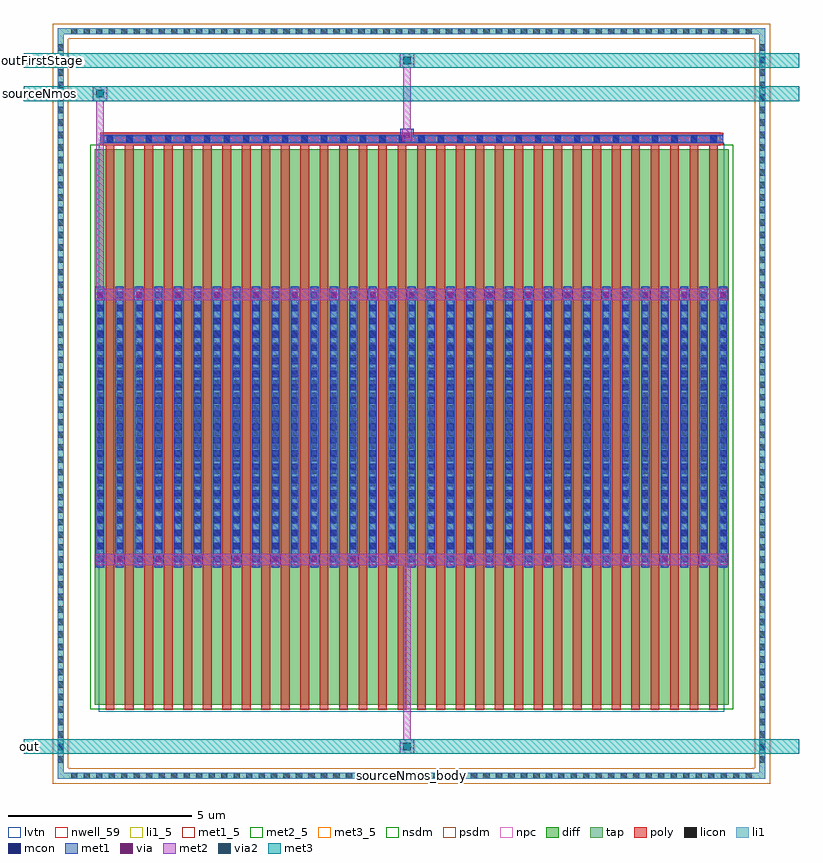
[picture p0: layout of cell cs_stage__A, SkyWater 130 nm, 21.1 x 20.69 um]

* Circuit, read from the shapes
.subckt cs_stage__A out outFirstStage sourceNmos sourceNmos_body
XM1 out outFirstStage sourceNmos sourceNmos_body sky130_fd_pr__nfet_01v8_lvt w=15.13 l=0.24 m=32
.ends

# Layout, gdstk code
import gdstk
lib = gdstk.Library(unit=1e-6, precision=1e-09)
def R(c, l, rs):  # rectangles x0, y0, x1, y1
    for r in rs: c.add(gdstk.rectangle(r[:2], r[2:], *l))
def A(c, l, x, y, w, h, nx, ny, dx, dy):  # array of equal rectangles
    R(c, l, [(x+i*dx, y+j*dy, x+i*dx+w, y+j*dy+h) for i in range(nx) for j in range(ny)])
nwell_59 = (64, 59)
diff = (65, 20)
tap = (65, 44)
poly = (66, 20)
licon = (66, 44)
li1_5 = (67, 5)
li1 = (67, 20)
mcon = (67, 44)
met1_5 = (68, 5)
met1 = (68, 20)
via = (68, 44)
met2_5 = (69, 5)
met2 = (69, 20)
via2 = (69, 44)
met3_5 = (70, 5)
met3 = (70, 20)
nsdm = (93, 44)
psdm = (94, 20)
npc = (95, 20)
lvtn = (125, 44)

sky130_fd_pr__nfet_01v8_ = lib.new_cell('sky130_fd_pr__nfet_01v8_lvt_2FVR8Y')
R(sky130_fd_pr__nfet_01v8_, diff, [(-8.625,-7.72,8.625,7.41)])
A(sky130_fd_pr__nfet_01v8_, poly, -8.335, -7.85, 0.24, 15.37, 32, 1, 0.53, 0)
R(sky130_fd_pr__nfet_01v8_, poly, [(-8.48,7.52,8.48,7.85)])
A(sky130_fd_pr__nfet_01v8_, licon, -8.565, -3.81, 0.17, 0.17, 33, 22, 0.53, 0.34)
A(sky130_fd_pr__nfet_01v8_, licon, -8.3, 7.6, 0.17, 0.17, 32, 1, 0.53, 0)
A(sky130_fd_pr__nfet_01v8_, li1, -8.565, -3.99, 0.17, 7.67, 33, 1, 0.53, 0)
R(sky130_fd_pr__nfet_01v8_, li1, [(-8.48,7.6,8.48,7.77)])
A(sky130_fd_pr__nfet_01v8_, mcon, -8.565, -3.84, 0.17, 0.17, 33, 21, 0.53, 0.36)
A(sky130_fd_pr__nfet_01v8_, mcon, -8.3, 7.6, 0.17, 0.17, 32, 1, 0.53, 0)
A(sky130_fd_pr__nfet_01v8_, met1, -8.595, -3.97, 0.23, 7.63, 33, 1, 0.53, 0)
A(sky130_fd_pr__nfet_01v8_, met1, -8.36, 7.57, 0.29, 0.03, 32, 2, 0.53, 0.2)
R(sky130_fd_pr__nfet_01v8_, met1, [(-8.48,7.6,8.48,7.77)])
R(sky130_fd_pr__nfet_01v8_, nsdm, [(-8.75,-7.845,8.75,7.535)])
R(sky130_fd_pr__nfet_01v8_, npc, [(-8.4,7.5,8.4,7.87)])
R(sky130_fd_pr__nfet_01v8_, lvtn, [(-8.515,-7.9,8.515,7.59)])
sky130_fd_pr__nfet_01v8_.add(gdstk.Label('D0', (-8.48,-0.155), layer=67, texttype=5))
sky130_fd_pr__nfet_01v8_.add(gdstk.Label('G', (8.215,7.685), layer=67, texttype=5))
sky130_fd_pr__nfet_01v8_.add(gdstk.Label('G', (7.685,7.685), layer=67, texttype=5))
sky130_fd_pr__nfet_01v8_.add(gdstk.Label('G', (7.155,7.685), layer=67, texttype=5))
sky130_fd_pr__nfet_01v8_.add(gdstk.Label('G', (6.625,7.685), layer=67, texttype=5))
sky130_fd_pr__nfet_01v8_.add(gdstk.Label('G', (6.095,7.685), layer=67, texttype=5))
sky130_fd_pr__nfet_01v8_.add(gdstk.Label('G', (5.565,7.685), layer=67, texttype=5))
sky130_fd_pr__nfet_01v8_.add(gdstk.Label('G', (5.035,7.685), layer=67, texttype=5))
sky130_fd_pr__nfet_01v8_.add(gdstk.Label('G', (4.505,7.685), layer=67, texttype=5))
sky130_fd_pr__nfet_01v8_.add(gdstk.Label('G', (3.975,7.685), layer=67, texttype=5))
sky130_fd_pr__nfet_01v8_.add(gdstk.Label('G', (3.445,7.685), layer=67, texttype=5))
sky130_fd_pr__nfet_01v8_.add(gdstk.Label('G', (2.915,7.685), layer=67, texttype=5))
sky130_fd_pr__nfet_01v8_.add(gdstk.Label('G', (2.385,7.685), layer=67, texttype=5))
sky130_fd_pr__nfet_01v8_.add(gdstk.Label('G', (1.855,7.685), layer=67, texttype=5))
sky130_fd_pr__nfet_01v8_.add(gdstk.Label('G', (1.325,7.685), layer=67, texttype=5))
sky130_fd_pr__nfet_01v8_.add(gdstk.Label('G', (0.795,7.685), layer=67, texttype=5))
sky130_fd_pr__nfet_01v8_.add(gdstk.Label('G', (0.265,7.685), layer=67, texttype=5))
sky130_fd_pr__nfet_01v8_.add(gdstk.Label('G', (-0.265,7.685), layer=67, texttype=5))
sky130_fd_pr__nfet_01v8_.add(gdstk.Label('G', (-0.795,7.685), layer=67, texttype=5))
sky130_fd_pr__nfet_01v8_.add(gdstk.Label('G', (-1.325,7.685), layer=67, texttype=5))
sky130_fd_pr__nfet_01v8_.add(gdstk.Label('G', (-1.855,7.685), layer=67, texttype=5))
sky130_fd_pr__nfet_01v8_.add(gdstk.Label('G', (-2.385,7.685), layer=67, texttype=5))
sky130_fd_pr__nfet_01v8_.add(gdstk.Label('G', (-2.915,7.685), layer=67, texttype=5))
sky130_fd_pr__nfet_01v8_.add(gdstk.Label('G', (-3.445,7.685), layer=67, texttype=5))
sky130_fd_pr__nfet_01v8_.add(gdstk.Label('G', (-3.975,7.685), layer=67, texttype=5))
sky130_fd_pr__nfet_01v8_.add(gdstk.Label('G', (-4.505,7.685), layer=67, texttype=5))
sky130_fd_pr__nfet_01v8_.add(gdstk.Label('G', (-5.035,7.685), layer=67, texttype=5))
sky130_fd_pr__nfet_01v8_.add(gdstk.Label('G', (-5.565,7.685), layer=67, texttype=5))
sky130_fd_pr__nfet_01v8_.add(gdstk.Label('G', (-6.095,7.685), layer=67, texttype=5))
sky130_fd_pr__nfet_01v8_.add(gdstk.Label('G', (-6.625,7.685), layer=67, texttype=5))
sky130_fd_pr__nfet_01v8_.add(gdstk.Label('G', (-7.155,7.685), layer=67, texttype=5))
sky130_fd_pr__nfet_01v8_.add(gdstk.Label('G', (-7.685,7.685), layer=67, texttype=5))
sky130_fd_pr__nfet_01v8_.add(gdstk.Label('G', (-8.215,7.685), layer=67, texttype=5))
sky130_fd_pr__nfet_01v8_.add(gdstk.Label('S1', (-7.95,-0.155), layer=67, texttype=5))
sky130_fd_pr__nfet_01v8_.add(gdstk.Label('D2', (-7.42,-0.155), layer=67, texttype=5))
sky130_fd_pr__nfet_01v8_.add(gdstk.Label('S3', (-6.89,-0.155), layer=67, texttype=5))
sky130_fd_pr__nfet_01v8_.add(gdstk.Label('D4', (-6.36,-0.155), layer=67, texttype=5))
sky130_fd_pr__nfet_01v8_.add(gdstk.Label('S5', (-5.83,-0.155), layer=67, texttype=5))
sky130_fd_pr__nfet_01v8_.add(gdstk.Label('D6', (-5.3,-0.155), layer=67, texttype=5))
sky130_fd_pr__nfet_01v8_.add(gdstk.Label('S7', (-4.77,-0.155), layer=67, texttype=5))
sky130_fd_pr__nfet_01v8_.add(gdstk.Label('D8', (-4.24,-0.155), layer=67, texttype=5))
sky130_fd_pr__nfet_01v8_.add(gdstk.Label('S9', (-3.71,-0.155), layer=67, texttype=5))
sky130_fd_pr__nfet_01v8_.add(gdstk.Label('D10', (-3.18,-0.155), layer=67, texttype=5))
sky130_fd_pr__nfet_01v8_.add(gdstk.Label('S11', (-2.65,-0.155), layer=67, texttype=5))
sky130_fd_pr__nfet_01v8_.add(gdstk.Label('D12', (-2.12,-0.155), layer=67, texttype=5))
sky130_fd_pr__nfet_01v8_.add(gdstk.Label('S13', (-1.59,-0.155), layer=67, texttype=5))
sky130_fd_pr__nfet_01v8_.add(gdstk.Label('D14', (-1.06,-0.155), layer=67, texttype=5))
sky130_fd_pr__nfet_01v8_.add(gdstk.Label('S15', (-0.53,-0.155), layer=67, texttype=5))
sky130_fd_pr__nfet_01v8_.add(gdstk.Label('D16', (0,-0.155), layer=67, texttype=5))
sky130_fd_pr__nfet_01v8_.add(gdstk.Label('S17', (0.53,-0.155), layer=67, texttype=5))
sky130_fd_pr__nfet_01v8_.add(gdstk.Label('D18', (1.06,-0.155), layer=67, texttype=5))
sky130_fd_pr__nfet_01v8_.add(gdstk.Label('S19', (1.59,-0.155), layer=67, texttype=5))
sky130_fd_pr__nfet_01v8_.add(gdstk.Label('D20', (2.12,-0.155), layer=67, texttype=5))
sky130_fd_pr__nfet_01v8_.add(gdstk.Label('S21', (2.65,-0.155), layer=67, texttype=5))
sky130_fd_pr__nfet_01v8_.add(gdstk.Label('D22', (3.18,-0.155), layer=67, texttype=5))
sky130_fd_pr__nfet_01v8_.add(gdstk.Label('S23', (3.71,-0.155), layer=67, texttype=5))
sky130_fd_pr__nfet_01v8_.add(gdstk.Label('D24', (4.24,-0.155), layer=67, texttype=5))
sky130_fd_pr__nfet_01v8_.add(gdstk.Label('S25', (4.77,-0.155), layer=67, texttype=5))
sky130_fd_pr__nfet_01v8_.add(gdstk.Label('D26', (5.3,-0.155), layer=67, texttype=5))
sky130_fd_pr__nfet_01v8_.add(gdstk.Label('S27', (5.83,-0.155), layer=67, texttype=5))
sky130_fd_pr__nfet_01v8_.add(gdstk.Label('D28', (6.36,-0.155), layer=67, texttype=5))
sky130_fd_pr__nfet_01v8_.add(gdstk.Label('S29', (6.89,-0.155), layer=67, texttype=5))
sky130_fd_pr__nfet_01v8_.add(gdstk.Label('D30', (7.42,-0.155), layer=67, texttype=5))
sky130_fd_pr__nfet_01v8_.add(gdstk.Label('S31', (7.95,-0.155), layer=67, texttype=5))

nfet_01v8_lvt_w484p2_l0p = lib.new_cell('nfet_01v8_lvt_W484p2_L0p24_m1__nf32_gtop_sdhalf_outS_ng')
R(nfet_01v8_lvt_w484p2_l0p, nwell_59, [(0.05,7.645,0.15,7.745)])
R(nfet_01v8_lvt_w484p2_l0p, met1_5, [(0.145,15.42,17.105,15.65)])
A(nfet_01v8_lvt_w484p2_l0p, met1, 0.545, 3.93, 0.26, 0.32, 16, 1, 1.06, 0)
A(nfet_01v8_lvt_w484p2_l0p, met1, 0.015, 11.14, 0.26, 0.32, 17, 1, 1.06, 0)
R(nfet_01v8_lvt_w484p2_l0p, met1, [(0.145,15.42,17.105,15.65)])
A(nfet_01v8_lvt_w484p2_l0p, via, 0.6, 4.015, 0.15, 0.15, 16, 1, 1.06, 0)
A(nfet_01v8_lvt_w484p2_l0p, via, 0.07, 11.225, 0.15, 0.15, 17, 1, 1.06, 0)
R(nfet_01v8_lvt_w484p2_l0p, met2_5, [(0.01,3.93,17.24,4.25), (0.01,11.14,17.24,11.46)])
R(nfet_01v8_lvt_w484p2_l0p, met2, [(0.01,3.93,17.24,4.25), (0.01,11.14,17.24,11.46)])
nfet_01v8_lvt_w484p2_l0p.add(gdstk.Reference(sky130_fd_pr__nfet_01v8_, (8.625,7.85)))
nfet_01v8_lvt_w484p2_l0p.add(gdstk.Label('S', (8.625,11.3), layer=69, texttype=5))
nfet_01v8_lvt_w484p2_l0p.add(gdstk.Label('D', (8.625,4.09), layer=69, texttype=5))
nfet_01v8_lvt_w484p2_l0p.add(gdstk.Label('G', (8.625,15.535), layer=68, texttype=5))
nfet_01v8_lvt_w484p2_l0p.add(gdstk.Label('B', (0.1,7.695), layer=64, texttype=59))

cs_stage__a = lib.new_cell('cs_stage__A')
R(cs_stage__a, tap, [(-0.885,-1.885,18.385,-1.715), (-0.885,-1.715,-0.715,18.385), (18.215,-1.715,18.385,18.385), (-0.885,18.385,18.385,18.555)])
A(cs_stage__a, licon, -0.515, -1.885, 0.17, 0.17, 55, 2, 0.34, 20.27)
A(cs_stage__a, licon, -0.885, -1.44, 0.17, 0.17, 1, 58, 0, 0.34)
A(cs_stage__a, licon, 18.215, -1.44, 0.17, 0.17, 1, 58, 0, 0.34)
R(cs_stage__a, li1_5, [(8.7,-1.85,8.8,-1.75)])
R(cs_stage__a, li1, [(-0.885,-1.885,18.385,-1.715), (-0.885,-1.715,-0.715,18.385), (18.215,-1.715,18.385,18.385), (-0.885,18.385,18.385,18.555)])
R(cs_stage__a, met1, [(8.445,15.45,8.805,15.81)])
R(cs_stage__a, via, [(8.55,15.555,8.7,15.705)])
R(cs_stage__a, met2, [(8.425,-1.2,8.825,-0.8), (8.525,-0.8,8.725,4.03), (0.17,11.36,0.37,16.57), (8.495,15.47,8.755,15.79), (8.525,15.79,8.725,17.47), (0.07,16.57,0.47,16.97), (8.425,17.47,8.825,17.87)])
R(cs_stage__a, via2, [(8.525,-1.1,8.725,-0.9), (0.17,16.67,0.37,16.87), (8.525,17.57,8.725,17.77)])
R(cs_stage__a, met3_5, [(-1.7,-1.05,-1.6,-0.95), (-1.7,16.72,-1.6,16.82), (-1.7,17.62,-1.6,17.72)])
R(cs_stage__a, met3, [(-1.8,-1.2,19.3,-0.8), (-1.8,16.57,19.3,16.97), (-1.8,17.47,19.3,17.87)])
R(cs_stage__a, psdm, [(-1.01,-2.01,18.51,-1.59), (-1.01,-1.59,-0.59,18.26), (18.09,-1.59,18.51,18.26), (-1.01,18.26,18.51,18.68)])
cs_stage__a.add(gdstk.Reference(nfet_01v8_lvt_w484p2_l0p, (0.13,0)))
cs_stage__a.add(gdstk.Label('sourceNmos', (-1.65,16.77), layer=70, texttype=5))
cs_stage__a.add(gdstk.Label('outFirstStage', (-1.65,17.67), layer=70, texttype=5))
cs_stage__a.add(gdstk.Label('out', (-1.65,-1), layer=70, texttype=5))
cs_stage__a.add(gdstk.Label('sourceNmos_body', (8.75,-1.8), layer=67, texttype=5))

lib.write_gds('cs_stage__A.gds')
